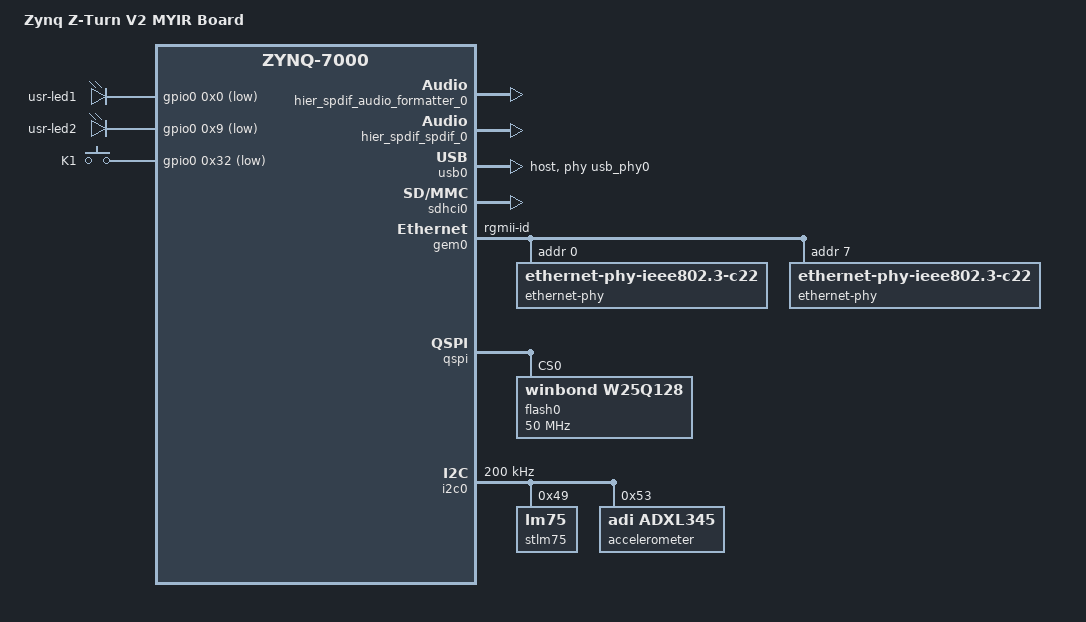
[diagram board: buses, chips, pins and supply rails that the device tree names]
/include/ "system-conf.dtsi"
/ {
  model = "Zynq Z-Turn V2 MYIR Board";
  compatible = "myir,zynq-zturn", "xlnx,zynq-7000";
  
  reserved-memory {
    #address-cells = <1>;
    #size-cells = <1>;
    ranges;
    
    /* 16 MB reserved for tests on the DMA */
    dma_src_reserved: buffer@30000000 {
        no-map;
        reg = <0x30000000 0x01000000>;
    };
    
    /* New CMA reservation (e.g., 128MB at 0x31000000) */
    linux,cma {
      compatible = "shared-dma-pool";
      reusable;   /* Essential for CMA: allows kernel to use it when idle */
      size = <0x08000000>;
      alignment = <0x00001000>;
      alloc-ranges = <0x31000000 0x08000000>;
      linux,cma-default; /* Makes this the default pool for the system */
    };
 
  };
  
  axidma_chrdev: axidma_chrdev@0 {
    compatible = "xlnx,axidma-chrdev";
    dmas = <&spw_0_axi_dma_spw_0 0 &spw_0_axi_dma_spw_0 1>;
    dma-names = "tx_channel", "rx_channel";
  };    
  
  gpio-leds {
    compatible = "gpio-leds";
    usr-led1 {
      label = "usr-led1";
      gpios = <&gpio0 0x0 0x1>;
      default-state = "off";
    };
   
    usr-led2 {
      label = "usr-led2";
      gpios = <&gpio0 0x9 0x1>;
      default-state = "off";
    };
  };
   
  gpio-keys {
    compatible = "gpio-keys";
    autorepeat;
    K1 {
      label = "K1";
      gpios = <&gpio0 0x32 0x1>;
      linux,code = <0x66>;
      wakeup-source;
      autorepeat;
    };
  };

  usb_phy0: usb_phy@0 {
    compatible = "ulpi-phy";
    #phy-cells = <0>;
    reg = <0xe0002000 0x1000>;
    view-port = <0x170>;
    drv-vbus;
  };
  
  sound {
      status = "okay"; 
      compatible = "simple-audio-card";
      simple-audio-card,name = "Zynq Sound Formatter";
      simple-audio-card,bitclock-master = <&dailink0_master>;
      simple-audio-card,frame-master = <&dailink0_master>;
      
      /* advertise supported rates & formats */
      simple-audio-card,rates = <44100>;
      simple-audio-card,formats = "S16_LE", "S24_LE";
  
      simple-audio-card,cpu {
          sound-dai = <&hier_spdif_audio_formatter_0>;  /* <- Sound Formatter IP */
      };
  
      dailink0_master: simple-audio-card,codec {
          sound-dai = <&hier_spdif_spdif_0>;
      };
  };
};

&spw_0_axi_dma_spw_0 {
  memory-region = <&dma_src_reserved>;
  dma-channel@40400000 {
    xlnx,device-id = <0x0>;
  };
  dma-channel@40400030 {
    xlnx,device-id = <0x1>;
  };
};

&spw_0_axi_fifo_mm_spw_0 {
  compatible = "xlnx,axi-fifo-mm-s-4.3", "xlnx,axi-fifo-mm-s-4.2", "xlnx,axi-fifo-mm-s-4.1";
};

&spw_1_clk_wiz_0 {
  status = "okay";
};

&spw_1_axi_bram_spw_native {
  compatible = "xlnx,spacewire";
	interrupt-parent = <&intc>;
	interrupts = <0 34 4>;
	clock-names = "spw_clk_tx_flex";
	clocks = <&spw_1_clk_wiz_0 2>;
};

&axi_gpio_rgb {
  gpio-line-names = "ledR", "ledG", "ledB";
};

&spw_0_axi_gpio_spw {
  gpio-line-names = "linkdis", "autostart", "linkstart", "txdiv0", "txdiv1", "txdiv2", "txdiv3", "txdiv4", "txdiv5", "txdiv6", "txdiv7", "errdisc", "started", "running", "connecting", "errcred", "erresc", "errpar";
  xlnx,dout-default = <0x00000001>;
};

/* Fix broken link to DAI */
&hier_spdif_audio_formatter_0 {
  status = "okay";
  xlnx,tx = <&hier_spdif_spdif_0>;
};

/* Link the SPDIF TX IP with its Audio Formatter */
&hier_spdif_spdif_0 {
  status = "okay";
  xlnx,snd-pcm = <&hier_spdif_audio_formatter_0>;
};

&usb0 {
  status = "okay";
  dr_mode = "host";
  phy_type = "ulpi";
  usb-phy = <&usb_phy0>;
};

&gpio0 {
  status = "okay";
};

&sdhci0 {
  status = "okay";
};

&gem0 {
  status = "okay";
  compatible = "xlnx,zynq-gem";
  xlnx,has-mdio = <0x1>;
  phy-mode = "rgmii-id";
  xlnx,ptp-enet-clock = <0x69f6bcb>;
 
  ethernet-phy@0 {
      compatible = "ethernet-phy-ieee802.3-c22";
      reg = <0>;
      max-speed = <1000>;
  };

  ethernet-phy@7 {
      compatible = "ethernet-phy-ieee802.3-c22";
      reg = <7>;
      max-speed = <1000>;
  };  
};

&qspi {
  status = "okay";
  
	flash0: flash@0 {
		compatible = "winbond,w25q128", "jedec,spi-nor";
		reg = <0x0>;
		spi-max-frequency = <50000000>;
    size = <0x1000000>;  /* 16MB (128Mbit) */
    has-dpd;
    t-enter-dpd = <20000>;
    t-exit-dpd = <100000>;
    jedec-id = [ef 70 18];
	};
};

&i2c0 {
  status = "okay";
  clock-frequency = <200000>;
 
  stlm75@49 {
    status = "okay";
    compatible = "lm75";
    reg = <0x49>;
  };
 
  accelerometer@53 {
    compatible = "adi,adxl345", "adxl345", "adi,adxl34x", "adxl34x";
    reg = <0x53>;
    interrupt-parent = <&intc>;
    interrupts = <0 35 4>;
  };
};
